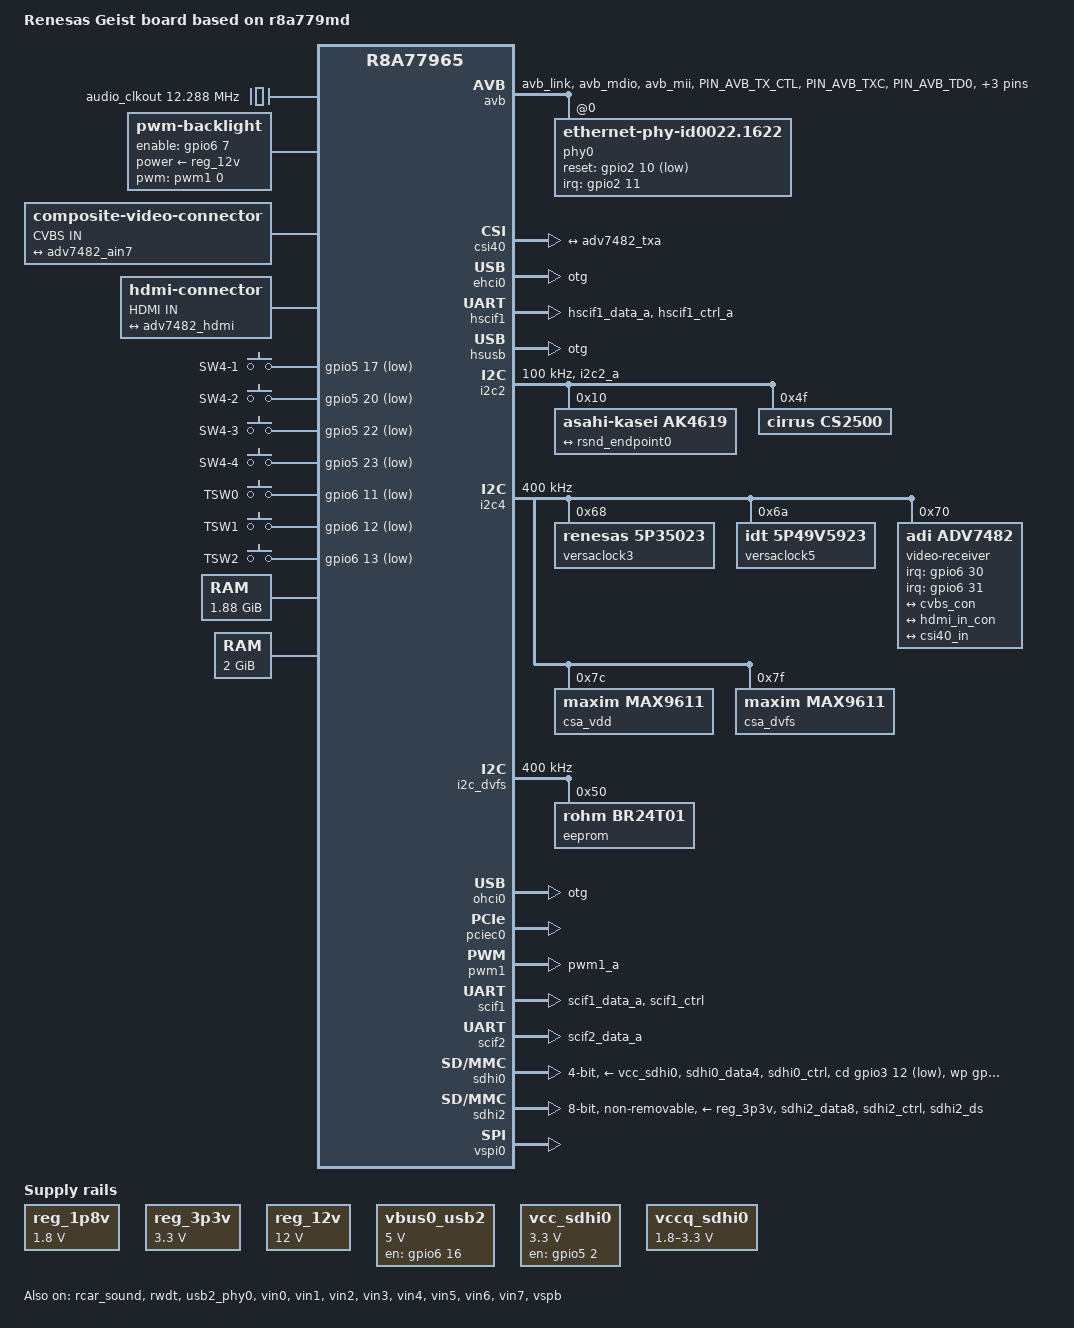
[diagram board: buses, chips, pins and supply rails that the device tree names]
// SPDX-License-Identifier: (GPL-2.0-only OR BSD-2-Clause)
/*
 * Device Tree Source for the Geist board with R-Car M3Le
 *
 * Copyright (C) 2025-2026 Renesas Electronics Corp.
 */

/dts-v1/;
#include <dt-bindings/gpio/gpio.h>
#include <dt-bindings/input/input.h>
#include "r8a779md.dtsi"

/ {
	model = "Renesas Geist board based on r8a779md";
	compatible = "renesas,geist", "renesas,r8a779md", "renesas,r8a77965";

	aliases {
		serial0 = &scif2;
		serial1 = &hscif1;
		ethernet0 = &avb;
		mmc0 = &sdhi2;
		mmc1 = &sdhi0;
	};

	audio_clkout: audio-clkout {
		/*
		 * This is same as <&rcar_sound 0>
		 * but needed to avoid cs2500/rcar_sound probe dead-lock
		 */
		compatible = "fixed-clock";
		#clock-cells = <0>;
		clock-frequency = <12288000>;
	};

	backlight: backlight {
		compatible = "pwm-backlight";
		pwms = <&pwm1 0 50000>;

		brightness-levels = <256 128 64 16 8 4 0>;
		default-brightness-level = <6>;

		power-supply = <&reg_12v>;
		enable-gpios = <&gpio6 7 GPIO_ACTIVE_HIGH>;
	};

	chosen {
		bootargs = "ignore_loglevel rw root=/dev/nfs ip=on";
		stdout-path = "serial0:115200n8";
	};

	cvbs-in {
		compatible = "composite-video-connector";
		label = "CVBS IN";

		port {
			cvbs_con: endpoint {
				remote-endpoint = <&adv7482_ain7>;
			};
		};
	};

	hdmi-in {
		compatible = "hdmi-connector";
		label = "HDMI IN";
		type = "a";

		port {
			hdmi_in_con: endpoint {
				remote-endpoint = <&adv7482_hdmi>;
			};
		};
	};

	keys {
		compatible = "gpio-keys";

		pinctrl-0 = <&keys_pins>;
		pinctrl-names = "default";

		key-1 {
			gpios = <&gpio5 17 GPIO_ACTIVE_LOW>;
			linux,code = <KEY_1>;
			label = "SW4-1";
			wakeup-source;
			debounce-interval = <20>;
		};

		key-2 {
			gpios = <&gpio5 20 GPIO_ACTIVE_LOW>;
			linux,code = <KEY_2>;
			label = "SW4-2";
			wakeup-source;
			debounce-interval = <20>;
		};

		key-3 {
			gpios = <&gpio5 22 GPIO_ACTIVE_LOW>;
			linux,code = <KEY_3>;
			label = "SW4-3";
			wakeup-source;
			debounce-interval = <20>;
		};

		key-4 {
			gpios = <&gpio5 23 GPIO_ACTIVE_LOW>;
			linux,code = <KEY_4>;
			label = "SW4-4";
			wakeup-source;
			debounce-interval = <20>;
		};

		key-a {
			gpios = <&gpio6 11 GPIO_ACTIVE_LOW>;
			linux,code = <KEY_A>;
			label = "TSW0";
			wakeup-source;
			debounce-interval = <20>;
		};

		key-b {
			gpios = <&gpio6 12 GPIO_ACTIVE_LOW>;
			linux,code = <KEY_B>;
			label = "TSW1";
			wakeup-source;
			debounce-interval = <20>;
		};

		key-c {
			gpios = <&gpio6 13 GPIO_ACTIVE_LOW>;
			linux,code = <KEY_C>;
			label = "TSW2";
			wakeup-source;
			debounce-interval = <20>;
		};
	};

	memory@48000000 {
		device_type = "memory";
		/* first 128MB is reserved for secure area. */
		reg = <0x0 0x48000000 0x0 0x78000000>;
	};

	memory@480000000 {
		device_type = "memory";
		reg = <0x4 0x80000000 0x0 0x80000000>;
	};

	reg_1p8v: regulator-1p8v {
		compatible = "regulator-fixed";
		regulator-name = "fixed-1.8V";
		regulator-min-microvolt = <1800000>;
		regulator-max-microvolt = <1800000>;
		regulator-boot-on;
		regulator-always-on;
	};

	reg_3p3v: regulator-3p3v {
		compatible = "regulator-fixed";
		regulator-name = "fixed-3.3V";
		regulator-min-microvolt = <3300000>;
		regulator-max-microvolt = <3300000>;
		regulator-boot-on;
		regulator-always-on;
	};

	reg_12v: regulator-12v {
		compatible = "regulator-fixed";
		regulator-name = "fixed-12V";
		regulator-min-microvolt = <12000000>;
		regulator-max-microvolt = <12000000>;
		regulator-boot-on;
		regulator-always-on;
	};

	vbus0_usb2: regulator-vbus0-usb2 {
		compatible = "regulator-fixed";

		regulator-name = "USB20_VBUS0";
		regulator-min-microvolt = <5000000>;
		regulator-max-microvolt = <5000000>;

		gpio = <&gpio6 16 GPIO_ACTIVE_HIGH>;
		enable-active-high;
	};

	vcc_sdhi0: regulator-vcc-sdhi0 {
		compatible = "regulator-fixed";

		regulator-name = "SDHI0 Vcc";
		regulator-min-microvolt = <3300000>;
		regulator-max-microvolt = <3300000>;

		gpio = <&gpio5 2 GPIO_ACTIVE_HIGH>;
		enable-active-high;
	};

	vccq_sdhi0: regulator-vccq-sdhi0 {
		compatible = "regulator-gpio";

		regulator-name = "SDHI0 VccQ";
		regulator-min-microvolt = <1800000>;
		regulator-max-microvolt = <3300000>;

		gpios = <&gpio5 1 GPIO_ACTIVE_HIGH>;
		gpios-states = <1>;
		states = <3300000 1>, <1800000 0>;
	};

	sound_card: sound {
		compatible = "audio-graph-card";

		label = "rcar-sound";
		dais = <&rsnd_port0>; /* AK4619 Audio Codec */
	};

	x12_clk: x12-clock {
		compatible = "fixed-clock";
		#clock-cells = <0>;
		clock-frequency = <24576000>;
	};

	/* External DU dot clocks */
	x21_clk: x21-clock {
		compatible = "fixed-clock";
		#clock-cells = <0>;
		clock-frequency = <33000000>;
	};

	x22_clk: x22-clock {
		compatible = "fixed-clock";
		#clock-cells = <0>;
		clock-frequency = <33000000>;
	};

	x23_clk: x23-clock {
		compatible = "fixed-clock";
		#clock-cells = <0>;
		clock-frequency = <25000000>;
	};

	x3013_clk: x3013-clock {
		compatible = "fixed-clock";
		#clock-cells = <0>;
		clock-frequency = <25000000>;
	};
};

&audio_clk_a {
	clock-frequency = <22579200>;
};

&avb {
	pinctrl-0 = <&avb_pins>;
	pinctrl-names = "default";
	phy-handle = <&phy0>;
	tx-internal-delay-ps = <2000>;
	status = "okay";

	phy0: ethernet-phy@0 {
		compatible = "ethernet-phy-id0022.1622";
		rxc-skew-ps = <1500>;
		reg = <0>;
		interrupts-extended = <&gpio2 11 IRQ_TYPE_LEVEL_LOW>;
		reset-gpios = <&gpio2 10 GPIO_ACTIVE_LOW>;
		reset-assert-us = <10000>;
		reset-deassert-us = <300>;
	};
};

&csi40 {
	status = "okay";

	ports {
		port@0 {
			csi40_in: endpoint {
				clock-lanes = <0>;
				data-lanes = <1 2 3 4>;
				remote-endpoint = <&adv7482_txa>;
			};
		};
	};
};

&ehci0 {
	dr_mode = "otg";
	status = "okay";
};

&extalr_clk {
	clock-frequency = <32768>;
};

&extal_clk {
	clock-frequency = <16666666>;
};

&hscif1 {
	pinctrl-0 = <&hscif1_pins>;
	pinctrl-names = "default";

	uart-has-rtscts;
	/* Please only enable hscif1 or scif1 */
	status = "okay";
};

&hsusb {
	dr_mode = "otg";
	status = "okay";
};

&i2c2 {
	pinctrl-0 = <&i2c2_pins>;
	pinctrl-names = "default";
	clock-frequency = <100000>;
	status = "okay";

	ak4619: codec@10 {
		compatible = "asahi-kasei,ak4619";
		reg = <0x10>;
		clocks = <&rcar_sound 3>;
		clock-names = "mclk";
		#sound-dai-cells = <0>;

		port {
			ak4619_endpoint: endpoint {
				remote-endpoint = <&rsnd_endpoint0>;
			};
		};
	};

	/* Pin-to-pin, register map, and control compatible with CS2000 and CS2200 */
	cs2500: clock-controller@4f {
		#clock-cells = <0>;
		compatible = "cirrus,cs2500", "cirrus,cs2000-cp";
		reg = <0x4f>;
		clocks = <&audio_clkout>, <&x12_clk>;
		clock-names = "clk_in", "ref_clk";

		assigned-clocks = <&cs2500>;
		assigned-clock-rates = <24576000>; /* 1/1 divide */
	};
};

&i2c4 {
	clock-frequency = <400000>;
	status = "okay";

	versaclock3: clock-controller@68 {
		compatible = "renesas,5p35023";
		reg = <0x68>;
		#clock-cells = <1>;
		clocks = <&x3013_clk>;
		assigned-clocks = <&versaclock3 4>, <&versaclock3 5>;
		assigned-clock-rates = <100000000>, <100000000>;
	};

	versaclock5: clock-controller@6a {
		compatible = "idt,5p49v5923";
		reg = <0x6a>;
		#clock-cells = <1>;
		clocks = <&x23_clk>;
		clock-names = "xin";
	};

	video-receiver@70 {
		compatible = "adi,adv7482";
		reg = <0x70 0x71 0x72 0x73 0x74 0x75
		       0x60 0x61 0x62 0x63 0x64 0x65>;
		reg-names = "main", "dpll", "cp", "hdmi", "edid", "repeater",
			    "infoframe", "cbus", "cec", "sdp", "txa", "txb" ;

		interrupts-extended = <&gpio6 30 IRQ_TYPE_LEVEL_LOW>,
				      <&gpio6 31 IRQ_TYPE_LEVEL_LOW>;
		interrupt-names = "intrq1", "intrq2";

		ports {
			#address-cells = <1>;
			#size-cells = <0>;

			port@7 {
				reg = <7>;

				adv7482_ain7: endpoint {
					remote-endpoint = <&cvbs_con>;
				};
			};

			port@8 {
				reg = <8>;

				adv7482_hdmi: endpoint {
					remote-endpoint = <&hdmi_in_con>;
				};
			};

			port@a {
				reg = <10>;

				adv7482_txa: endpoint {
					clock-lanes = <0>;
					data-lanes = <1 2 3 4>;
					remote-endpoint = <&csi40_in>;
				};
			};
		};
	};

	csa_vdd: adc@7c {
		compatible = "maxim,max9611";
		reg = <0x7c>;

		shunt-resistor-micro-ohms = <5000>;
	};

	csa_dvfs: adc@7f {
		compatible = "maxim,max9611";
		reg = <0x7f>;

		shunt-resistor-micro-ohms = <5000>;
	};
};

&i2c_dvfs {
	status = "okay";

	clock-frequency = <400000>;

	eeprom@50 {
		compatible = "rohm,br24t01", "atmel,24c01";
		reg = <0x50>;
		pagesize = <8>;
	};
};

&ohci0 {
	dr_mode = "otg";
	status = "okay";
};

&pcie_bus_clk {
	status = "disabled";
};

&pciec0 {
	clocks = <&cpg CPG_MOD 319>, <&versaclock3 4>;
	status = "okay";
};

&pciec0_rp {
	clocks = <&versaclock3 5>;
};

&pfc {
	pinctrl-0 = <&scif_clk_pins>;
	pinctrl-names = "default";

	avb_pins: avb {
		mux {
			groups = "avb_link", "avb_mdio", "avb_mii";
			function = "avb";
		};

		pins_mdio {
			groups = "avb_mdio";
			drive-strength = <24>;
		};

		pins_mii_tx {
			pins = "PIN_AVB_TX_CTL", "PIN_AVB_TXC", "PIN_AVB_TD0",
			       "PIN_AVB_TD1", "PIN_AVB_TD2", "PIN_AVB_TD3";
			drive-strength = <12>;
		};
	};

	hscif1_pins: hscif1 {
		groups = "hscif1_data_a", "hscif1_ctrl_a";
		function = "hscif1";
	};

	i2c2_pins: i2c2 {
		groups = "i2c2_a";
		function = "i2c2";
	};

	irq0_pins: irq0 {
		groups = "intc_ex_irq0";
		function = "intc_ex";
	};

	keys_pins: keys {
		pins = "GP_5_17", "GP_5_20", "GP_5_22";
		bias-pull-up;
	};

	pwm1_pins: pwm1 {
		groups = "pwm1_a";
		function = "pwm1";
	};

	scif1_pins: scif1 {
		groups = "scif1_data_a", "scif1_ctrl";
		function = "scif1";
	};

	scif2_pins: scif2 {
		groups = "scif2_data_a";
		function = "scif2";
	};

	scif_clk_pins: scif_clk {
		groups = "scif_clk_a";
		function = "scif_clk";
	};

	sdhi0_pins: sd0 {
		groups = "sdhi0_data4", "sdhi0_ctrl";
		function = "sdhi0";
		power-source = <3300>;
	};

	sdhi0_pins_uhs: sd0_uhs {
		groups = "sdhi0_data4", "sdhi0_ctrl";
		function = "sdhi0";
		power-source = <1800>;
	};

	sdhi2_pins: sd2 {
		groups = "sdhi2_data8", "sdhi2_ctrl", "sdhi2_ds";
		function = "sdhi2";
		power-source = <1800>;
	};

	sound_pins: sound {
		groups = "ssi01239_ctrl", "ssi0_data", "ssi1_data_a";
		function = "ssi";
	};

	sound_clk_pins: sound_clk {
		groups = "audio_clk_a_a", "audio_clk_b_a", "audio_clk_c_a",
			 "audio_clkout_a", "audio_clkout3_a";
		function = "audio_clk";
	};

	usb0_pins: usb0 {
		groups = "usb0";
		function = "usb0";
	};
};

&pwm1 {
	pinctrl-0 = <&pwm1_pins>;
	pinctrl-names = "default";

	status = "okay";
};

&rcar_sound {
	pinctrl-0 = <&sound_pins>, <&sound_clk_pins>;
	pinctrl-names = "default";

	/* Single DAI */
	#sound-dai-cells = <0>;

	/* audio_clkout0/1/2/3 */
	#clock-cells = <1>;
	clock-frequency = <12288000 11289600>;

	status = "okay";

	/* update <audio_clk_b> to <cs2500> */
	clocks = <&cpg CPG_MOD 1005>,
		 <&cpg CPG_MOD 1006>, <&cpg CPG_MOD 1007>,
		 <&cpg CPG_MOD 1008>, <&cpg CPG_MOD 1009>,
		 <&cpg CPG_MOD 1010>, <&cpg CPG_MOD 1011>,
		 <&cpg CPG_MOD 1012>, <&cpg CPG_MOD 1013>,
		 <&cpg CPG_MOD 1014>, <&cpg CPG_MOD 1015>,
		 <&cpg CPG_MOD 1022>, <&cpg CPG_MOD 1023>,
		 <&cpg CPG_MOD 1024>, <&cpg CPG_MOD 1025>,
		 <&cpg CPG_MOD 1026>, <&cpg CPG_MOD 1027>,
		 <&cpg CPG_MOD 1028>, <&cpg CPG_MOD 1029>,
		 <&cpg CPG_MOD 1030>, <&cpg CPG_MOD 1031>,
		 <&cpg CPG_MOD 1020>, <&cpg CPG_MOD 1021>,
		 <&cpg CPG_MOD 1020>, <&cpg CPG_MOD 1021>,
		 <&cpg CPG_MOD 1019>, <&cpg CPG_MOD 1018>,
		 <&audio_clk_a>, <&cs2500>,
		 <&audio_clk_c>,
		 <&cpg CPG_MOD 922>;

	ports {
		#address-cells = <1>;
		#size-cells = <0>;

		rsnd_port0: port@0 {
			reg = <0>;

			rsnd_endpoint0: endpoint {
				remote-endpoint = <&ak4619_endpoint>;
				dai-format = "left_j";
				bitclock-master = <&rsnd_endpoint0>;
				frame-master = <&rsnd_endpoint0>;
				playback = <&ssi0>, <&src0>, <&dvc0>;
				capture = <&ssi1>, <&src1>, <&dvc1>;
			};
		};
	};
};

&rwdt {
	timeout-sec = <60>;
	status = "okay";
};

&scif1 {
	pinctrl-0 = <&scif1_pins>;
	pinctrl-names = "default";

	uart-has-rtscts;
	/* Please only enable hscif1 or scif1 */
	/* status = "okay"; */
};

&scif2 {
	pinctrl-0 = <&scif2_pins>;
	pinctrl-names = "default";

	status = "okay";
};

&scif_clk {
	clock-frequency = <14745600>;
};

&sdhi0 {
	pinctrl-0 = <&sdhi0_pins>;
	pinctrl-1 = <&sdhi0_pins_uhs>;
	pinctrl-names = "default", "state_uhs";

	vmmc-supply = <&vcc_sdhi0>;
	vqmmc-supply = <&vccq_sdhi0>;
	cd-gpios = <&gpio3 12 GPIO_ACTIVE_LOW>;
	wp-gpios = <&gpio3 13 GPIO_ACTIVE_HIGH>;
	bus-width = <4>;
	sd-uhs-sdr50;
	sd-uhs-sdr104;
	status = "okay";
};

&sdhi2 {
	/* used for on-board 8bit eMMC */
	pinctrl-0 = <&sdhi2_pins>;
	pinctrl-1 = <&sdhi2_pins>;
	pinctrl-names = "default", "state_uhs";

	vmmc-supply = <&reg_3p3v>;
	vqmmc-supply = <&reg_1p8v>;
	bus-width = <8>;
	mmc-hs200-1_8v;
	no-sd;
	no-sdio;
	non-removable;
	fixed-emmc-driver-type = <1>;
	full-pwr-cycle-in-suspend;
	status = "okay";
};

&ssi1 {
	shared-pin;
};

&usb_extal_clk {
	clock-frequency = <50000000>;
};

&usb2_phy0 {
	pinctrl-0 = <&usb0_pins>;
	pinctrl-names = "default";

	vbus-supply = <&vbus0_usb2>;
	status = "okay";
};

&vin0 {
	status = "okay";
};

&vin1 {
	status = "okay";
};

&vin2 {
	status = "okay";
};

&vin3 {
	status = "okay";
};

&vin4 {
	status = "okay";
};

&vin5 {
	status = "okay";
};

&vin6 {
	status = "okay";
};

&vin7 {
	status = "okay";
};

&vspb {
	status = "okay";
};

&vspi0 {
	status = "okay";
};
